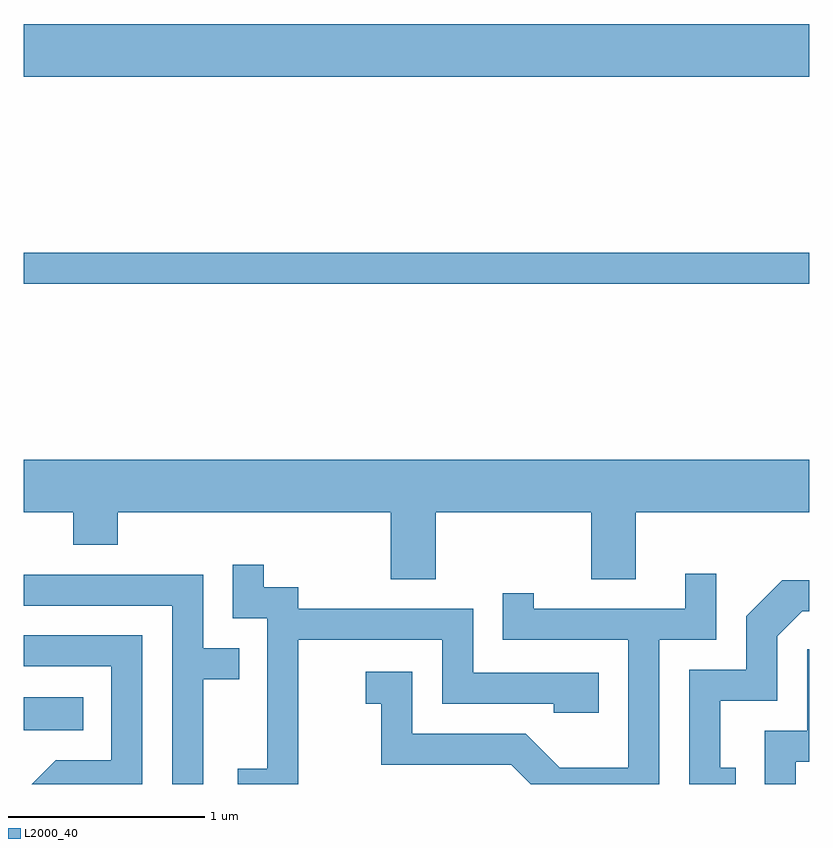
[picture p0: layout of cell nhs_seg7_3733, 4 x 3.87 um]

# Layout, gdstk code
import gdstk
lib = gdstk.Library(unit=1e-6, precision=1e-09)
def R(c, l, rs):  # rectangles x0, y0, x1, y1
    for r in rs: c.add(gdstk.rectangle(r[:2], r[2:], *l))
def P(c, l, *ps):  # polygons
    for p in ps: c.add(gdstk.Polygon(p, *l))
L2000_40 = (2000, 40)

nhs_seg7_3733 = lib.new_cell('nhs_seg7_3733')
R(nhs_seg7_3733, L2000_40, [(299.611,1726.526,299.913,1726.694), (299.611,1728.801,303.611,1728.959), (299.611,1729.856,303.611,1730.124)])
P(nhs_seg7_3733, L2000_40, [(299.611,1727.636),(299.861,1727.636),(299.861,1727.471),(300.089,1727.471),(300.089,1727.636),(301.481,1727.636),(301.481,1727.296),(301.709,1727.296),(301.709,1727.636),(302.501,1727.636),(302.501,1727.296),(302.729,1727.296),(302.729,1727.636),(303.611,1727.636),(303.611,1727.904),(299.611,1727.904)],
  [(301.009,1726.986),(301.741,1726.986),(301.741,1726.661),(302.311,1726.661),(302.311,1726.616),(302.539,1726.616),(302.539,1726.819),(301.899,1726.819),(301.899,1727.144),(301.009,1727.144),(301.009,1727.254),(300.834,1727.254),(300.834,1727.368),(300.676,1727.368),(300.676,1727.096),(300.851,1727.096),(300.851,1726.329),(300.701,1726.329),(300.701,1726.252),(301.009,1726.252)],
  [(302.849,1726.986),(303.139,1726.986),(303.139,1727.323),(302.981,1727.323),(302.981,1727.144),(302.209,1727.144),(302.209,1727.223),(302.051,1727.223),(302.051,1726.986),(302.691,1726.986),(302.691,1726.334),(302.342,1726.334),(302.167,1726.509),(301.589,1726.509),(301.589,1726.824),(301.353,1726.824),(301.353,1726.661),(301.431,1726.661),(301.431,1726.351),(302.094,1726.351),(302.193,1726.252),(302.849,1726.252)],
  [(300.524,1726.786),(300.708,1726.786),(300.708,1726.944),(300.524,1726.944),(300.524,1727.319),(299.611,1727.319),(299.611,1727.161),(300.366,1727.161),(300.366,1726.252),(300.524,1726.252)],
  [(303.238,1726.334),(303.159,1726.334),(303.159,1726.676),(303.449,1726.676),(303.449,1727.004),(303.577,1727.131),(303.611,1727.131),(303.611,1727.289),(303.474,1727.289),(303.291,1727.107),(303.291,1726.834),(303.001,1726.834),(303.001,1726.252),(303.238,1726.252)],
  [(300.214,1727.009),(299.611,1727.009),(299.611,1726.851),(300.056,1726.851),(300.056,1726.374),(299.774,1726.374),(299.652,1726.252),(300.214,1726.252)],
  [(303.544,1726.366),(303.611,1726.366),(303.611,1726.939),(303.601,1726.939),(303.601,1726.524),(303.386,1726.524),(303.386,1726.252),(303.544,1726.252)])

lib.write_gds('nhs_seg7_3733.gds')
